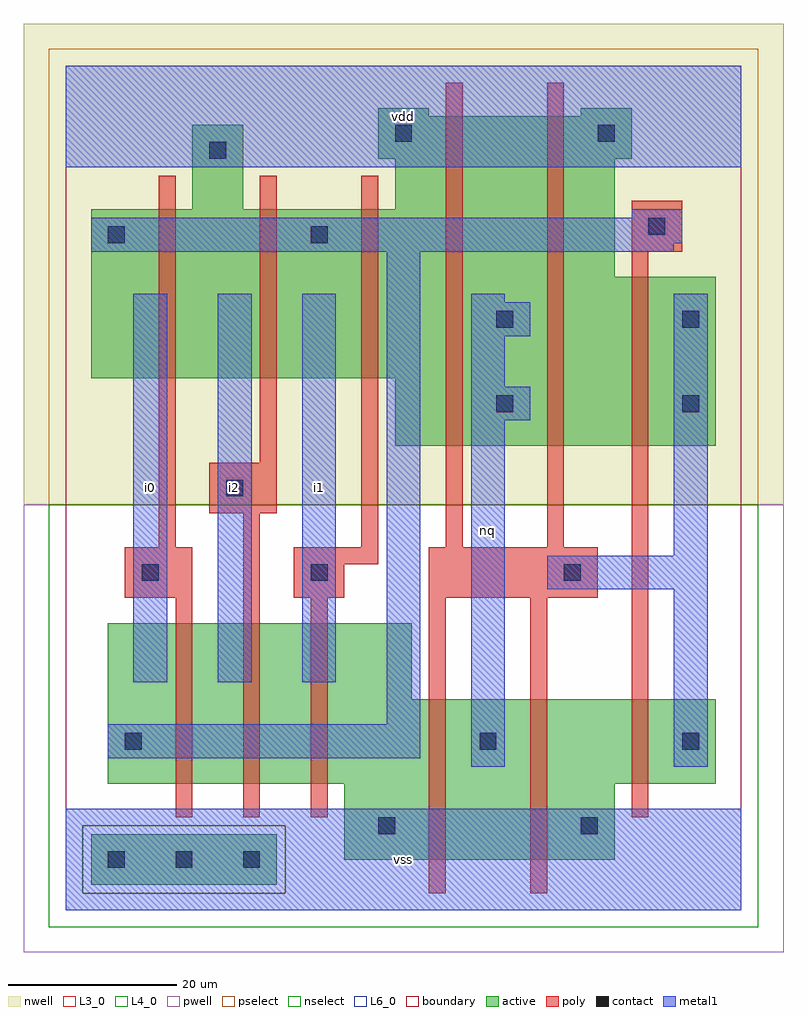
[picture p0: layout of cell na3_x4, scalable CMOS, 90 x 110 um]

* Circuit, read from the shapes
.subckt na3_x4 i0 i1 i2 nq vdd vss
M1 n1 i0 n2 vss nfet w=19u l=2u
M2 n3 i2 n1 vss nfet w=19u l=2u
M3 vss i1 n3 vss nfet w=19u l=2u
M4 nq n4 vss vss nfet w=19u l=2u m=2
M5 n4 n2 vss vss nfet w=10u l=2u
M6 vdd i0 n2 n5 pfet w=20u l=2u
M7 n2 i2 vdd n5 pfet w=20u l=2u
M8 vdd i1 n2 n5 pfet w=20u l=2u
M9 nq n4 vdd n5 pfet w=39u l=2u m=2
M10 n4 n2 vdd n5 pfet w=20u l=2u
.ends

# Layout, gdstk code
import gdstk
lib = gdstk.Library(unit=1e-6, precision=1e-09)
def R(c, l, rs):  # rectangles x0, y0, x1, y1
    for r in rs: c.add(gdstk.rectangle(r[:2], r[2:], *l))
def A(c, l, x, y, w, h, nx, ny, dx, dy):  # array of equal rectangles
    R(c, l, [(x+i*dx, y+j*dy, x+i*dx+w, y+j*dy+h) for i in range(nx) for j in range(ny)])
L3_0 = (3, 0)
L4_0 = (4, 0)
L6_0 = (6, 0)
contact = (25, 0)
pwell = (41, 0)
nwell = (42, 0)
active = (43, 0)
pselect = (44, 0)
nselect = (45, 0)
poly = (46, 0)
metal1 = (49, 0)
boundary = (63, 0)

na3_x4 = lib.new_cell('na3_x4')
R(na3_x4, L3_0, [(33,6,65,15), (5,15,77,25), (5,25,41,34)])
R(na3_x4, L4_0, [(39,55,77,63), (3,63,77,75), (3,75,65,83), (15,83,21,93), (39,83,65,89), (37,89,67,94), (37,94,43,95), (61,94,67,95)])
R(na3_x4, L6_0, [(3,3,25,9)])
A(na3_x4, contact, 5, 5, 2, 2, 3, 1, 8, 0)
R(na3_x4, contact, [(37,9,39,11), (61,9,63,11), (7,19,9,21), (49,19,51,21), (73,19,75,21), (9,39,11,41), (29,39,31,41), (59,39,61,41), (19,49,21,51), (51,59,53,61), (73,59,75,61), (51,69,53,71), (73,69,75,71), (5,79,7,81), (29,79,31,81), (69,80,71,82), (17,89,19,91), (39,91,41,93), (63,91,65,93)])
R(na3_x4, pwell, [(-5,-5,85,48)])
R(na3_x4, nwell, [(-5,48,85,105)])
R(na3_x4, active, [(3,3,25,9), (33,6,65,15), (5,15,77,25), (5,25,41,34), (39,55,77,63), (3,63,77,75), (3,75,65,83), (15,83,21,93), (39,83,65,89), (37,89,67,94), (37,94,43,95), (61,94,67,95)])
R(na3_x4, pselect, [(2,2,26,10), (-2,48,82,102)])
R(na3_x4, nselect, [(-2,-2,82,2), (-2,2,2,10), (26,2,82,10), (-2,10,82,48)])
R(na3_x4, poly, [(43,2,45,37), (55,2,57,37), (13,11,15,37), (21,11,23,47), (29,11,31,37), (67,11,69,78), (7,37,15,43), (27,37,33,41), (43,37,63,43), (27,41,37,43), (11,43,13,87), (35,43,37,87), (45,43,47,98), (57,43,59,98), (17,47,25,53), (23,53,25,87), (67,78,73,84)])
A(na3_x4, metal1, 8, 27, 4, 46, 3, 1, 10, 0)
R(na3_x4, metal1, [(0,0,80,12), (48,17,52,58), (72,17,76,38), (5,18,42,22), (38,22,42,78), (57,38,76,42), (72,42,76,73), (48,58,55,62), (48,62,52,68), (48,68,55,72), (48,72,52,73), (3,78,72,79), (3,79,73,82), (67,82,73,83), (0,88,80,100)])
R(na3_x4, boundary, [(0,0,80,100)])
na3_x4.add(gdstk.Label('i0', (10,50), layer=49, texttype=0))
na3_x4.add(gdstk.Label('i1', (30,50), layer=49, texttype=0))
na3_x4.add(gdstk.Label('i2', (20,50), layer=49, texttype=0))
na3_x4.add(gdstk.Label('vss', (40,6), layer=49, texttype=0))
na3_x4.add(gdstk.Label('nq', (50,45), layer=49, texttype=0))
na3_x4.add(gdstk.Label('vdd', (40,94), layer=49, texttype=0))

lib.write_gds('na3_x4.gds')
